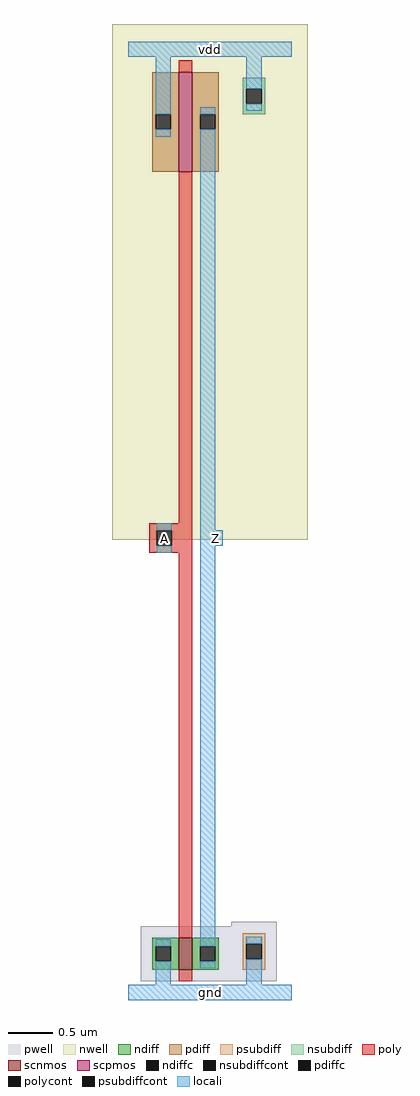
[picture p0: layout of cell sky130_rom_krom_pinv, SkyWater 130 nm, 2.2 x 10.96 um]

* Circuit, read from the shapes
.subckt sky130_rom_krom_pinv A Z gnd vdd
XM1 Z A gnd gnd sky130_fd_pr__nfet_01v8 w=0.36 l=0.15
XM2 Z A vdd vdd sky130_fd_pr__pfet_01v8 w=1.12 l=0.15
.ends

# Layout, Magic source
magic
tech sky130A
magscale 1 2
<< nwell >>
rect -36 1017 404 2176
<< pwell >>
rect 232 149 334 159
rect 28 25 334 149
<< scnmos >>
rect 114 51 144 123
<< scpmos >>
rect 114 1844 144 2068
<< ndiff >>
rect 54 104 114 123
rect 54 70 62 104
rect 96 70 114 104
rect 54 51 114 70
rect 144 104 204 123
rect 144 70 162 104
rect 196 70 204 104
rect 144 51 204 70
<< pdiff >>
rect 54 1973 114 2068
rect 54 1939 62 1973
rect 96 1939 114 1973
rect 54 1844 114 1939
rect 144 1973 204 2068
rect 144 1939 162 1973
rect 196 1939 204 1973
rect 144 1844 204 1939
<< ndiffc >>
rect 62 70 96 104
rect 162 70 196 104
<< pdiffc >>
rect 62 1939 96 1973
rect 162 1939 196 1973
<< psubdiff >>
rect 258 109 308 133
rect 258 75 266 109
rect 300 75 308 109
rect 258 51 308 75
<< nsubdiff >>
rect 258 2031 308 2055
rect 258 1997 266 2031
rect 300 1997 308 2031
rect 258 1973 308 1997
<< psubdiffcont >>
rect 266 75 300 109
<< nsubdiffcont >>
rect 266 1997 300 2031
<< poly >>
rect 114 2068 144 2094
rect 114 1054 144 1844
rect 48 1038 144 1054
rect 48 1004 64 1038
rect 98 1004 144 1038
rect 48 988 144 1004
rect 114 123 144 988
rect 114 25 144 51
<< polycont >>
rect 64 1004 98 1038
<< locali >>
rect 0 2102 368 2136
rect 62 1973 96 2102
rect 266 2031 300 2102
rect 62 1923 96 1939
rect 162 1973 196 1989
rect 266 1981 300 1997
rect 64 1038 98 1054
rect 64 988 98 1004
rect 162 1038 196 1939
rect 162 1004 213 1038
rect 62 104 96 120
rect 62 17 96 70
rect 162 104 196 1004
rect 162 54 196 70
rect 266 109 300 125
rect 266 17 300 75
rect 0 -17 368 17
<< labels >>
rlabel locali s 81 1021 81 1021 4 A
port 1 nsew
rlabel locali s 196 1021 196 1021 4 Z
port 2 nsew
rlabel locali s 184 0 184 0 4 gnd
port 3 nsew
rlabel locali s 184 2119 184 2119 4 vdd
port 4 nsew
<< properties >>
string FIXED_BBOX 0 0 368 1872
<< end >>
